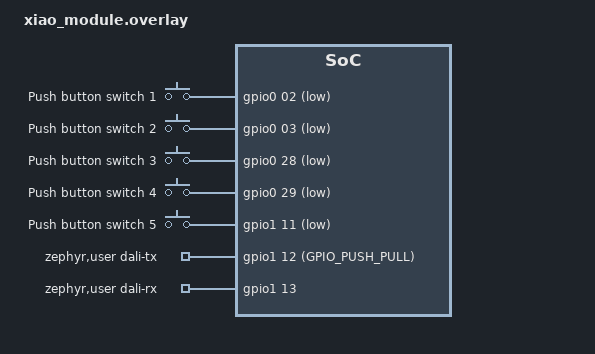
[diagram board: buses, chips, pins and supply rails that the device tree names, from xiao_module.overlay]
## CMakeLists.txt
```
# SPDX-License-Identifier: Apache-2.0

cmake_minimum_required(VERSION 3.20.0)
find_package(Zephyr REQUIRED HINTS $ENV{ZEPHYR_BASE})
project(blinky)

target_sources(app PRIVATE src/main.c src/dali.c src/buttons.c)
```

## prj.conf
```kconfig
CONFIG_NRFX_TIMER1=y
CONFIG_NRFX_TIMER2=y
CONFIG_NRFX_PPI=y
CONFIG_POLL=y
CONFIG_ASSERT=y
CONFIG_HEAP_MEM_POOL_SIZE=4096
CONFIG_RTT_CONSOLE=y
CONFIG_USE_SEGGER_RTT=y
```

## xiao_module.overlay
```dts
// To get started, press Ctrl+Space to bring up the completion menu and view the available nodes.

// You can also use the buttons in the sidebar to perform actions on nodes.
// Actions currently available include:

// * Enabling / disabling the node
// * Adding the bus to a bus
// * Removing the node
// * Connecting ADC channels

// For more help, browse the DeviceTree documentation at https://docs.zephyrproject.org/latest/guides/dts/index.html
// You can also visit the nRF DeviceTree extension documentation at https://nrfconnect.github.io/vscode-nrf-connect/devicetree/nrfdevicetree.html

/*
* 1- P0.02 D0 -- Button 1
* 2- P0.03 D1 -- Button 2
* 3- P0.28 D2 -- Button 3
* 4- P0.29 D3 -- Button 4
* 5- P0.04 D4 -- i2c_1 SDA We're not disabling this cos we might use it for an environmental sensor
* 6- P0.05 D5 -- i2c_1 SCL
* 7- P1.11 D6 -- Button 5

* VBUS
* GND
* 3V3
* D10 P1.15 -- 
* D9 P1.14 -- 
* D8 P1.13 -- DALI RX
* D7 P1.12 -- DALI TX


*/


/ {
    buttons {
		compatible = "gpio-keys";
		

		button1: button_1 {
			gpios = <&gpio0 02 (GPIO_PULL_UP | GPIO_ACTIVE_LOW)>;
			label = "Push button switch 1";
		};
		button2: button_2 {
			gpios = <&gpio0 03 (GPIO_PULL_UP | GPIO_ACTIVE_LOW)>;
			label = "Push button switch 2";
		};
		button3: button_3 {
			gpios = <&gpio0 28 (GPIO_PULL_UP | GPIO_ACTIVE_LOW)>;
			label = "Push button switch 3";
		};
		button4: button_4 {
			gpios = <&gpio0 29 (GPIO_PULL_UP | GPIO_ACTIVE_LOW)>;
			label = "Push button switch 4";
		};
		button5: button_5 {
			gpios = <&gpio1 11 (GPIO_PULL_UP | GPIO_ACTIVE_LOW)>;
			label = "Push button switch 5";
		};
    };

	zephyr,user {
		dali-tx-gpios = <&gpio1 12 (GPIO_PUSH_PULL)>;
		dali-rx-gpios = <&gpio1 13 (GPIO_PULL_UP)>;
	};

    aliases {
        sw1 = &button1;
        sw2 = &button2;
        sw3 = &button3;
        sw4 = &button4;
        sw5 = &button5;
    };
};

// Disable SPI2 so that we can repurpose the pins.
&spi2 {
	status = "disabled";
};

// Disable uart0 as we don't use it, and we need the pins.
&uart0 {
	status = "disabled";
};
```

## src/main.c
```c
/*
 * Copyright (c) 2016 Intel Corporation
 *
 * SPDX-License-Identifier: Apache-2.0
 */

#include <zephyr/kernel.h>
#include <zephyr/drivers/gpio.h>
#include <helpers/nrfx_gppi.h>
#include <zephyr/init.h>
#include <stdlib.h>
#include "./dali.h"
#include "./buttons.h"

#define SLEEP_TIME_MS   500
#define LED0_NODE DT_ALIAS(led0)



typedef enum {
	BUTTON_ACTION_TOGGLE,
	BUTTON_ACTION_DIM,
	BUTTON_ACTION_BRIGHTEN,
} button_action_t;

typedef enum {
	DEVICE_TYPE_NOT_PRESENT,
	DEVICE_TYPE_DIMMABLE_LAMP,
	DEVICE_TYPE_ONOFF,
} device_type_t;


typedef struct {
	device_type_t type;
	uint32_t address;
	uint8_t level;
} device_t;


typedef struct {
	uint32_t index;
	button_action_t action;
	device_t target;
} button_state_t;

static button_state_t buttons[5] = {
	{ .index = 0, .target = { .type = DEVICE_TYPE_DIMMABLE_LAMP, .address = DALI_GEAR_ADDR(0)},  .action = BUTTON_ACTION_TOGGLE },
	{ .index = 1, .target = { .type = DEVICE_TYPE_ONOFF, .address = DALI_GEAR_ADDR(1)},  .action = BUTTON_ACTION_TOGGLE },
	{ .index = 2, .target = { .type = DEVICE_TYPE_NOT_PRESENT }, .action = BUTTON_ACTION_TOGGLE },
	{ .index = 3, .target = { .type = DEVICE_TYPE_NOT_PRESENT }, .action = BUTTON_ACTION_TOGGLE },
	{ .index = 4, .target = { .type = DEVICE_TYPE_NOT_PRESENT }, .action = BUTTON_ACTION_TOGGLE },
};

/**
 * @brief Semaphore used to make asynchronous calls more synchronous.
 */
K_SEM_DEFINE(scan_sem, 0, 1);

static void update_level(dali_cmd_t *cmd) {
	button_state_t *button = (button_state_t *) cmd->ctx;
	if (cmd->result >= 0) {
		button->target.level = cmd->result;
		printk("Button %d level now %d from %d\r\n", button->index, button->target.level, cmd->result);
	} else {
		printk("Error when fetching level for button %d: %d\r\n", button->index, cmd->result);
	}
	k_free(cmd);
}


static void fetch_device_level(button_state_t *button) {
	dali_cmd_t *cmd = (dali_cmd_t *) k_malloc(sizeof(dali_cmd_t));
	if (cmd) {
		cmd->cmd = button->target.address | DALI_CMD_QUERY_ACTUAL_LEVEL; 
		cmd->ctx = button;
		cmd->callback = update_level;
		dali_transmit_cmd_async(cmd);
	} else {
		printk("Malloc failed");
	}
}


static void free_cmd(dali_cmd_t *cmd) {
	button_state_t *button = (button_state_t *) cmd->ctx;
	k_free(cmd);
	fetch_device_level(button);
}

static void send_cmd(button_state_t *button, uint32_t operation) {
	dali_cmd_t *cmd = (dali_cmd_t *) k_malloc(sizeof(dali_cmd_t));
	if (cmd) {
		cmd->cmd = button->target.address | operation; 
		cmd->ctx = button;
		cmd->callback = free_cmd;
		dali_transmit_cmd_async(cmd);
	} else {
		printk("Malloc failed");
	}
}



static void button_handler(int btn, button_evt_t evt, uint32_t repeat_count) {
	button_state_t *button = buttons + btn;
	switch (evt) {
		case BUTTON_EVT_PRESS:
			button->action = BUTTON_ACTION_TOGGLE;
			if (button->target.type != DEVICE_TYPE_NOT_PRESENT) {
				fetch_device_level(button);
				printk("Request status of %d\r\n", btn);
			}
			break;

		case BUTTON_EVT_RELEASE:
			if (button->action == BUTTON_ACTION_TOGGLE) {
				if (button->target.level == 0) {
					send_cmd(button, DALI_CMD_GOTO_LAST_ACTIVE_LEVEL);
				} else {
					send_cmd(button, DALI_CMD_OFF);
				}
				// k_msleep(20);
				// fetch_device_level(button);
				printk("toggle %d\r\n", btn);
			}
			break;

		case BUTTON_EVT_REPEAT:
			switch (button->action) {
				case BUTTON_ACTION_TOGGLE:
					// First dim/brighten action depends on current level. 
					button->action = button->target.level == 0 ? BUTTON_ACTION_BRIGHTEN : BUTTON_ACTION_DIM;
					break;
				case BUTTON_ACTION_DIM:
					printk("Dim %d\r\n", btn);
					break;
				case BUTTON_ACTION_BRIGHTEN:
					printk("Brighten %d\r\n", btn);
					break;
			}
			break;


		case BUTTON_EVT_REPRESS:
			button->action = button->action == BUTTON_ACTION_DIM ? BUTTON_ACTION_BRIGHTEN :  BUTTON_ACTION_DIM;
			if (button->action == BUTTON_ACTION_DIM) {
				printk("Dim %d\r\n", btn);
			} else {
				printk("Brighten %d\r\n", btn);
			}
			break;
	}
}
	

void scanDevices() {
	for (int addr = 0; addr < 64; addr++) {
		int32_t response = dali_transmit_cmd_sync(DALI_GEAR_ADDR(addr) | DALI_CMD_QUERY_ACTUAL_LEVEL, &scan_sem, K_FOREVER);
		// Wait for task to complete (callback will give to semaphore)
		k_sem_take(&scan_sem, K_FOREVER);
		// anything NAK (-1) and above are valid responses. All other negative responses are errors.
		if (response >= DALI_RESPONSE_NAK) {
			// printk("Gear %d level = %d\r\n", addr, response);
		} else {
			printk("Error fetching data: %d\r\n", response);
		}
	}
}


int main(void)
{
	buttons_init(button_handler);
	printk("Hello World\r\n");


	while (1) {
		// scanDevices();
		k_msleep(5000);
	}
	return 0;
}
```

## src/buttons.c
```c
#include <zephyr/kernel.h>
#include <zephyr/device.h>
#include <zephyr/drivers/gpio.h>
#include "./buttons.h"

/*
 * Get button configuration from the devicetree sw0 alias. This is mandatory.
 */
#define SW1_NODE	DT_ALIAS(sw1)
#define SW2_NODE	DT_ALIAS(sw2)
#define SW3_NODE	DT_ALIAS(sw3)
#define SW4_NODE	DT_ALIAS(sw4)
#define SW5_NODE	DT_ALIAS(sw5)

#define gpio0_NODE	DT_ALIAS(gpio0)
#define gpio1_NODE	DT_ALIAS(gpio1)


#if !DT_NODE_HAS_STATUS(SW1_NODE, okay)
#error "Unsupported board: sw1 devicetree alias is not defined"
#endif

#if !DT_NODE_HAS_STATUS(SW2_NODE, okay)
#error "Unsupported board: sw2 devicetree alias is not defined"
#endif

#if !DT_NODE_HAS_STATUS(SW3_NODE, okay)
#error "Unsupported board: sw3 devicetree alias is not defined"
#endif



#if !DT_NODE_HAS_STATUS(SW4_NODE, okay)
#error "Unsupported board: sw4 devicetree alias is not defined"
#endif

#if !DT_NODE_HAS_STATUS(SW5_NODE, okay)
#error "Unsupported board: sw5 devicetree alias is not defined"
#endif


#define NUM_BUTTONS 5
#define DEBOUNCE_INTERVAL 25
#define INITIAL_REPEAT_INTERVAL 750
#define REPEAT_INTERVAL 250


button_event_handler_t event_handler = NULL;


typedef struct {
	unsigned int index;
	uint32_t level;
	uint64_t last_release_ts;
    uint32_t repeat_count;
	struct gpio_dt_spec button;
	struct gpio_callback callback;
	struct k_work_delayable debounce_task;
	struct k_work_delayable repeat_task;
} t_button_state;

static t_button_state buttons[NUM_BUTTONS] = {
	{
		.index = 0,
		.button = GPIO_DT_SPEC_GET_OR(SW1_NODE, gpios, {0}),
		.last_release_ts = 0,
	},
	{
		.index = 1,
		.button = GPIO_DT_SPEC_GET_OR(SW2_NODE, gpios, {0}),
		.last_release_ts = 0,
	},
	{
		.index = 2,
		.button = GPIO_DT_SPEC_GET_OR(SW3_NODE, gpios, {0}),
		.last_release_ts = 0,
	},
	{
		.index = 3,
		.button = GPIO_DT_SPEC_GET_OR(SW4_NODE, gpios, {0}),
		.last_release_ts = 0,
	},
	{
		.index = 4,
		.button = GPIO_DT_SPEC_GET_OR(SW5_NODE, gpios, {0}),
		.last_release_ts = 0,
	},
};



void button_change(const struct device *dev, struct gpio_callback *cb, uint32_t pins)
{
	t_button_state *btn = buttons;
	for (int i = 0; i < NUM_BUTTONS; i++, btn++) {
		if (btn->button.port == dev && pins & BIT(btn->button.pin)) {
			k_work_reschedule(&(btn->debounce_task), K_MSEC(DEBOUNCE_INTERVAL));	
		}
	}
}



static void debounce(struct k_work *task) {
	t_button_state *button = CONTAINER_OF(task, t_button_state, debounce_task);

	int val = gpio_pin_get_dt(&(button->button));
	if (val != button->level) {
		button->level = val;
		if (val) {
			k_work_reschedule(&(button->repeat_task), K_MSEC(INITIAL_REPEAT_INTERVAL));	
			uint64_t now = k_uptime_get();
			if ((now - button->last_release_ts < 500) && button->repeat_count > 0) {
                if (event_handler) {
                    event_handler(button->index, BUTTON_EVT_REPRESS, button->repeat_count);
                }
			} else {
                button->repeat_count = 0;
                if (event_handler) {
                    event_handler(button->index, BUTTON_EVT_PRESS, button->repeat_count);
                }
			}
		} else {
			button->last_release_ts = k_uptime_get();
            // button->repeat_count = 0;
			k_work_cancel_delayable(&(button->repeat_task));	
            if (event_handler) {
                event_handler(button->index, BUTTON_EVT_RELEASE, button->repeat_count);
            }
		}

	}

}

static void repeat(struct k_work *task) {
	t_button_state *button = CONTAINER_OF(task, t_button_state, repeat_task);
	if (button->level) {
		k_work_reschedule(&(button->repeat_task), K_MSEC(REPEAT_INTERVAL));	
        button->repeat_count++;
        if (event_handler) {
            event_handler(button->index, BUTTON_EVT_REPEAT, button->repeat_count);
        }
	}
}

static int setup_button_gpio(struct gpio_dt_spec *button) {
	if (!gpio_is_ready_dt(button)) {
		printk("Error: button device %s is not ready\r\n", button->port->name);
		return 1;
	}

	int ret = gpio_pin_configure_dt(button, GPIO_INPUT);
	if (ret != 0) {
		printk("Error %d: failed to configure %s pin %d\r\n", ret, button->port->name, button->pin);
		return 1;
	}

	ret = gpio_pin_interrupt_configure_dt(button, GPIO_INT_EDGE_BOTH);
	if (ret != 0) {
		printk("Error %d: failed to configure interrupt on %s pin %d\r\n",
			ret, button->port->name, button->pin);
		return 1;
	}
	printk("Set up button at %s pin %d\r\n", button->port->name, button->pin);
	return 0;
}


void buttons_init(button_event_handler_t handler) {
	t_button_state *button;
	int i; 

    event_handler = handler;

	for (i = 0, button = buttons; i < NUM_BUTTONS; i++, button++) {
		k_work_init_delayable(&button->debounce_task, debounce);
		k_work_init_delayable(&button->repeat_task, repeat);

		if (setup_button_gpio(&button->button)) {
			printk("Button setup fail!\r\n");
		}
		button->level = gpio_pin_get_dt(&button->button);
		button->last_release_ts = k_uptime_get_32();
        // Set up GPIO to call button_change as its callback. 
		gpio_init_callback(&(button->callback), button_change, BIT(button->button.pin));
		gpio_add_callback(button->button.port, &(button->callback));
	}
}
```

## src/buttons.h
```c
#ifndef BUTTONS_H_
#define BUTTONS_H_

typedef enum {
    BUTTON_EVT_PRESS,
    BUTTON_EVT_RELEASE,
    BUTTON_EVT_REPEAT,
    BUTTON_EVT_REPRESS,
} button_evt_t;

typedef void (*button_event_handler_t)(int btn, button_evt_t evt, uint32_t repeat_count);

void buttons_init(button_event_handler_t handler);

#endif
```

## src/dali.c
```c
#include "./dali.h"
#include <zephyr/kernel.h>
#include <zephyr/device.h>
#include <nrfx_gpiote.h>
#include <nrfx_timer.h>
#include <nrfx_log.h>
#include <helpers/nrfx_gppi.h>
#include <nrfx_ppi.h>


#define DALI_STACK_SIZE 1024
#define DALI_PRIORITY 0

#define NRF_ERRCHK(call) { nrfx_err_t err = (call); if (err != NRFX_SUCCESS) { printk("(%s:%d) nrfx call failed: %x\r\n", __FILE__, __LINE__, err); return 1;}} 

// TX pin is p1.12
#define TRANSMIT_PIN ((1 << 5) | 12)
// RX pin is p1.13
#define RECEIVE_PIN ((1 << 5) | 13)





#define DALI_TE_US (833/2)



// We allow 15% of one TE as the Grace period for timing.
#define DALI_TIMING_GRACE 62
#define SHORT_PULSE_MIN_US (DALI_TE_US - DALI_TIMING_GRACE)
#define SHORT_PULSE_MAX_US (DALI_TE_US + DALI_TIMING_GRACE)
#define LONG_PULSE_MIN_US (2*DALI_TE_US - DALI_TIMING_GRACE)
#define LONG_PULSE_MAX_US (2*DALI_TE_US + DALI_TIMING_GRACE)
#define DALI_BACK_FRAME_WAIT_US (22*DALI_TE_US)
#define DALI_DEAD_TIME_US (6*DALI_TE_US)

static const nrfx_timer_t io_timer = NRFX_TIMER_INSTANCE(1);
static nrf_ppi_channel_t mid_bit_toggle_ppi_channel;
static nrf_ppi_channel_t start_bit_one_ppi_channel;
static nrf_ppi_channel_t start_bit_zero_ppi_channel;
static nrf_ppi_channel_t input_toggle_ppi_channel;
static uint8_t transmit_gpiote_channel;
static uint8_t receive_gpiote_channel;

static volatile uint32_t shift_reg = 0;
static volatile size_t num_bits = 0;

K_SEM_DEFINE(line_idle, 0, 1);


typedef void (*state_callback_t)();

typedef struct {
	char *name;
	state_callback_t entry;
	state_callback_t exit;
	state_callback_t timer;
	state_callback_t short_pulse;
	state_callback_t long_pulse;
	state_callback_t invalid_pulse;
} dali_state_t;

K_FIFO_DEFINE(command_queue);

static void dali_task(void *, void *, void *);

K_THREAD_DEFINE(dali_tid, DALI_STACK_SIZE,
                dali_task, NULL, NULL, NULL,
                DALI_PRIORITY, 0, 1200);



static void bus_error_occurred();


static void tx_state_entry();
static void tx_exit();
static void tx_state_bit_transmitted();

static void post_tx_dead_state_entry();
static void post_tx_dead_state_timeout();

static void wait_for_rx_start_entry();
static void wait_for_rx_timeout();
static void wait_for_rx_transition_occurred();

static void rx_start_bit_received_entry();
static void rx_start_bit_received_short_pulse();

static void rx_mid_bit_short_pulse_received();
static void rx_mid_bit_long_pulse_received();
static void check_for_transmission_end();

static void rx_bit_end_state_short_pulse_received();

static void bus_error_state_entry();
static void bus_error_state_pulse_handler();
static void bus_error_state_timeout();

static void idle_state_entry();

static const dali_state_t transmitting_state = {
	.name = "tx",
	.entry = tx_state_entry,
	.exit = tx_exit,
	.timer = tx_state_bit_transmitted,
	.short_pulse = NULL,
	.long_pulse = NULL,
	.invalid_pulse = NULL,
};


static const dali_state_t post_tx_dead_state = {
	.name = "dead",
	.entry = post_tx_dead_state_entry,
	.exit = NULL,
	.timer = post_tx_dead_state_timeout,
	.short_pulse = NULL,
	.long_pulse = NULL,
	.invalid_pulse = NULL,
};


static const dali_state_t rx_wait_for_start_state = {
	.name = "wfs",
	.entry = wait_for_rx_start_entry,
	.exit = NULL,
	.timer = wait_for_rx_timeout,
	// Pulse duration doesn't make sense for the wait_for_start state, so we react the same for all durations.
	.short_pulse = wait_for_rx_transition_occurred,
	.long_pulse = wait_for_rx_transition_occurred,
	.invalid_pulse = wait_for_rx_transition_occurred,
};

static const dali_state_t rx_start_bit_received_state = {
	.name = "Start Bit Received",
	.entry = rx_start_bit_received_entry,
	.exit = NULL,
	.timer = bus_error_occurred,
	.short_pulse = rx_start_bit_received_short_pulse,
	.long_pulse = bus_error_occurred,
	.invalid_pulse = bus_error_occurred,
};

static const dali_state_t rx_mid_bit_state = {
	.name = "M",
	.entry = NULL,
	.exit = NULL,
	.timer = check_for_transmission_end,
	.short_pulse = rx_mid_bit_short_pulse_received,
	.long_pulse = rx_mid_bit_long_pulse_received,
	.invalid_pulse = bus_error_occurred,
};

static const dali_state_t rx_bit_end_state = {
	.name = "E",
	.entry = NULL,
	.exit = NULL,
	.timer = check_for_transmission_end,
	.short_pulse = rx_bit_end_state_short_pulse_received,
	.long_pulse = bus_error_occurred,
	.invalid_pulse = bus_error_occurred,
};

static const dali_state_t bus_error_state = {
	.name = "Bus Error",
	.entry = bus_error_state_entry,
	.exit = NULL,
	.timer = bus_error_state_timeout,
	.short_pulse = bus_error_state_pulse_handler,
	.long_pulse = bus_error_state_pulse_handler,
	.invalid_pulse = bus_error_state_pulse_handler,
};

static const dali_state_t idle_state = {
	.name = "I",
	.entry = idle_state_entry,
	.exit = NULL,
	.timer = NULL,
	.short_pulse = NULL,
	.long_pulse = NULL,
	.invalid_pulse = NULL,
};

dali_state_t *current_state = (dali_state_t *) &idle_state;



/**
 * @brief Sets up the appropriate PPI channels to send the next bit correctly.
 */
static inline void configure_tx_next_bit() {
	if (shift_reg & BIT(31)) {
		nrfx_ppi_channel_enable(start_bit_one_ppi_channel);
		nrfx_ppi_channel_disable(start_bit_zero_ppi_channel);
	} else {
		nrfx_ppi_channel_disable(start_bit_one_ppi_channel);
		nrfx_ppi_channel_enable(start_bit_zero_ppi_channel);
	}
	shift_reg <<= 1;
}



// =================== Common state handlers ===========================
static void set_state(const dali_state_t *new_state) {
	if (current_state->exit) {
		current_state->exit();
	}
	// printk("%s->%s\r\n", current_state->name, new_state->name);
	current_state = (dali_state_t *) new_state;
	if (current_state->entry) {
		current_state->entry();
	}
}

/**
 * @brief Shared by many states, this indicates that some timing error occurred.  
 * We go into a stat that waits for the bus to be idle for a period of time, then
 * returns to active duty.
 */
static void bus_error_occurred() {
	printk("Bus error in state %s\r\n", current_state->name);
	set_state(&bus_error_state);
}

static void check_for_transmission_end() {
	// This can be called from either the half bit or the end of a bit.

	// if pin is high, there is a problem, as we must always return to idle.
	if (nrfx_gpiote_in_is_set(RECEIVE_PIN)) {
		set_state(&bus_error_state);
	} else {
		// Strip off the extra high 1 bit that represented the start bit.
		shift_reg &= (1 << num_bits)-1;
		// We're done with receiving.
		set_state(&idle_state);
	}
}




// =================== Transmit State. ===========================
static void tx_state_entry() {
	// The timer should already be off, but lets make sure.
	nrfx_timer_disable(&io_timer);
	// Enable GPIOTE capture on input toggle. 
	nrfx_gpiote_in_event_disable(RECEIVE_PIN);

	// Set timer to have fixed 2TE period.
	nrf_timer_cc_set(io_timer.p_reg, NRF_TIMER_CC_CHANNEL0, nrfx_timer_us_to_ticks(&io_timer, DALI_TE_US*2));
	// Make it so that it will toggle at one TE
	nrfx_ppi_channel_enable(mid_bit_toggle_ppi_channel);
	// Set up the next bit
	configure_tx_next_bit();
	// We start with driving the start bit (a logical 1)
	nrfx_timer_clear(&io_timer);
	nrfx_gpiote_set_task_trigger(TRANSMIT_PIN);	
	nrfx_timer_enable(&io_timer);

}


static void tx_state_bit_transmitted() {
	if (--num_bits > 0) {
		configure_tx_next_bit();
	} else {
		// We're done transmitting. Because we stay one bit ahead, an extra 0 will have
		// been set up, which will drive the line back low, which is what we want.

		// If we were to start reading straight away, we might read the final bit toggle reflected back
		// after propagation delay through the read line.  Instead, we introduce a dead time period where
		// we ignore the bus for a few TE.
		set_state(&post_tx_dead_state);
	}
}

static void tx_exit() {
	// Disable the PPI channels that make TX work. 
	nrfx_ppi_channel_disable(mid_bit_toggle_ppi_channel);
	nrfx_ppi_channel_disable(start_bit_one_ppi_channel);
	nrfx_ppi_channel_disable(start_bit_zero_ppi_channel);

	// Timer is left running as this state exits.
	// nrfx_timer_disable(&io_timer);
}


// =================== Post TX dead state ===========================

static void post_tx_dead_state_entry() {
	// Wait for 6 TEs (one less than the required 7) before we start receiving.
	nrf_timer_cc_set(io_timer.p_reg, NRF_TIMER_CC_CHANNEL0, nrfx_timer_us_to_ticks(&io_timer, DALI_DEAD_TIME_US));
	// nrfx_timer_clear(&io_timer);
	// Re-enable the timer. 
	// nrfx_timer_enable(&io_timer);
}

static void post_tx_dead_state_timeout() {
	set_state(&rx_wait_for_start_state);
}


// =================== RX Wait for Start State ===========================

static void wait_for_rx_start_entry() {
	shift_reg = 0;
	num_bits = 0;

	// Transmission must start between 7 and 22 TEs after TX finished.  We've already waited 6, so we set timeout to 16
	nrf_timer_cc_set(io_timer.p_reg, NRF_TIMER_CC_CHANNEL0, nrfx_timer_us_to_ticks(&io_timer, DALI_BACK_FRAME_WAIT_US-DALI_DEAD_TIME_US));
	// TODO Ensure bus is still low.
	// Listen for Bit Transitions
	nrfx_gpiote_in_event_enable(RECEIVE_PIN, true);
}

static void wait_for_rx_timeout() {
	// No start bit detected during detection period.
	set_state(&idle_state);
}

static void wait_for_rx_transition_occurred() {
	// A start bit has happened
	set_state(&rx_start_bit_received_state);
}


// =================== RX Start bit received state ===========================

/**
 * @brief We've started reading, meaning a transition has occurred.
 */
static void rx_start_bit_received_entry() {
	// Reset timeout to be the maximum long pulse width
	nrf_timer_cc_set(io_timer.p_reg, NRF_TIMER_CC_CHANNEL0, nrfx_timer_us_to_ticks(&io_timer, LONG_PULSE_MAX_US));
}

/**
 * @brief We've received the first half of the start bit. Set ourselves up for normal reads from here on in. 
 */
static void rx_start_bit_received_short_pulse() {
	shift_reg = 1; // We store the last bit in the LSB of the shift reg.  We start with 1 to represent the start it. This will be masked out later.
	set_state(&rx_mid_bit_state);
}


// =================== RX Mid bit state ===========================

static void rx_mid_bit_short_pulse_received() {
	set_state(&rx_bit_end_state);
}

static void rx_mid_bit_long_pulse_received() {
	// Its a bit flip.
	shift_reg = shift_reg << 1 | (shift_reg & 0x01 ? 0 : 1);
	num_bits++;
	// Stay in mid-bit state.
}



// =================== RX bit end state ===========================

static void rx_bit_end_state_short_pulse_received() {
	// The only way we get here is if the previous state was a half bit,
	// and it received a short pulse.  A second short pulse indicates another
	// bit of the same polarity.
	shift_reg = shift_reg << 1 | (shift_reg & 0x01);
	num_bits++;
	set_state(&rx_mid_bit_state);

}

// =================== Bus Error State ===========================

static void bus_error_state_entry() {
	// We want the bus to be low for a period of time before we exit this state.
	// TODO make this do something other than just wait for a bit.
	nrf_timer_cc_set(io_timer.p_reg, NRF_TIMER_CC_CHANNEL0, nrfx_timer_ms_to_ticks(&io_timer, 5));

}

static void bus_error_state_pulse_handler() {
}

static void bus_error_state_timeout() {
	set_state(&idle_state);
}

// =================== Idle State  ===========================

static void idle_state_entry() {
	nrfx_timer_disable(&io_timer);
	// nrfx_ppi_channel_disable(input_toggle_ppi_channel);
	nrfx_gpiote_in_event_disable(RECEIVE_PIN);
	k_sem_give(&line_idle);
}


// =================== End of state handlers.  ===========================



/**
 * @brief Called for compare interrupts coming from the I/O Timer. 
 * This will handle two types of events
 *  - CC0 - This is used by both transmit and receive
 *  - CC2 - This is used by Receive each time there is a polarity toggle. It records the pulse width in us 
 *          and uses this to determine what has been read. 
 * 
 * @param event_type 
 * @param p_context 
 */
void timer1_event_handler(nrf_timer_event_t event_type, void * p_context)
{
	switch(event_type) {
		case NRF_TIMER_EVENT_COMPARE0:
			if (current_state && current_state->timer) {
				current_state->timer();
			}
			break;
		default:
			break;
	}
}


/**
 * @brief Called each time the input toggles (when in the various RX modes)
 * 
 * @param pin 
 * @param action 
 */
void gpiote_receive_event_handler(nrfx_gpiote_pin_t pin, nrf_gpiote_polarity_t action) {
	if (current_state) {
		uint32_t ticks = nrfx_timer_capture_get(&io_timer, NRF_TIMER_CC_CHANNEL2);
		// printk("P%d\r\n", ticks);

		if (ticks >= SHORT_PULSE_MIN_US && ticks <= SHORT_PULSE_MAX_US) {
			// Short Pulse
			if (current_state->short_pulse) {
				current_state->short_pulse();
			}
		} else if (ticks >= LONG_PULSE_MIN_US) {
			// Long pulse - Anything greater than LONG_PULSE_MAX_US will cause a timeout.
			if (current_state->long_pulse) {
				current_state->long_pulse();
			}
		} else {
			if (current_state->invalid_pulse) {
				current_state->invalid_pulse();
			}
		}
	}
}



void dali_transmit_cmd_async(dali_cmd_t *cmd) {
	cmd->result = DALI_RESPONSE_QUEUED;
	k_fifo_put(&command_queue, cmd);
}


struct sync_callback_ctx {
	int response;
	struct k_sem *sem;
};


static void syncCallback(dali_cmd_t *cmd) {
	k_sem_give((struct k_sem *) cmd->ctx);
}

/**
 * @brief Uses the asynchronous call, but incorporates a semaphore to make it more synchronous.
 * 
 * @param data 
 * @param sem 
 * @param timeout 
 * @return int32_t 
 */
int32_t dali_transmit_cmd_sync(uint16_t data, struct k_sem *sem, k_timeout_t timeout) {
	dali_cmd_t cmd = {
		.cmd = data,
		.ctx = sem,
		.callback = syncCallback,
	};
	dali_transmit_cmd_async(&cmd);
	// Wait for task to complete (callback will give to semaphore)
	int res = k_sem_take(sem, timeout);
	if (res) {
		return -res;
	}
	return cmd.result;
}


static int dali_init() {
	nrfx_gpiote_out_config_t toggleConfig = {
		.action = NRF_GPIOTE_POLARITY_TOGGLE,
		.init_state = NRF_GPIOTE_INITIAL_VALUE_LOW,
		.task_pin = true,
	};

  	if (!nrfx_gpiote_is_init()) {
		NRF_ERRCHK(nrfx_gpiote_init(1));
	}

	// Create a GPIO Task that will manipulate the output of the transmit pin.
	NRF_ERRCHK(nrfx_gpiote_channel_alloc(&transmit_gpiote_channel));
	NRF_ERRCHK(nrfx_gpiote_out_prealloc_init(TRANSMIT_PIN, &toggleConfig, transmit_gpiote_channel));
	nrfx_gpiote_out_task_enable(TRANSMIT_PIN);


	// Set up Timer
	nrfx_timer_config_t timer_config = NRFX_TIMER_DEFAULT_CONFIG;
	timer_config.bit_width = NRF_TIMER_BIT_WIDTH_32;
	timer_config.frequency = NRF_TIMER_FREQ_1MHz;
	NRF_ERRCHK(nrfx_timer_init(&io_timer, &timer_config, timer1_event_handler));

	IRQ_DIRECT_CONNECT(TIMER1_IRQn, 0, nrfx_timer_1_irq_handler, 0);
	irq_enable(TIMER1_IRQn);
	nrfx_timer_extended_compare(&io_timer, 
                                NRF_TIMER_CC_CHANNEL0, 
                                nrfx_timer_us_to_ticks(&io_timer, DALI_TE_US*2), 
                                NRF_TIMER_SHORT_COMPARE0_CLEAR_MASK, true);


	// For transmit, set up a compare channel to trigger the toggle via PPI
	nrfx_timer_compare(&io_timer, 
						NRF_TIMER_CC_CHANNEL1, 
						nrfx_timer_us_to_ticks(&io_timer, DALI_TE_US), 
						false);

	// Set up PPI to wire together timer Compare1 (Mid Bit) to the OUT (toggle) task for the output pin
    NRF_ERRCHK(nrfx_ppi_channel_alloc(&mid_bit_toggle_ppi_channel));
    NRF_ERRCHK(nrfx_ppi_channel_assign(mid_bit_toggle_ppi_channel, 
			nrfx_timer_event_address_get(&io_timer, NRF_TIMER_EVENT_COMPARE1), 
			nrfx_gpiote_out_task_addr_get(TRANSMIT_PIN)
	));

	// Also set up channels for set (1) or clear (0) on CC0.  
	// These will be enabled or disabled based on the next bit to be transmitted.
    NRF_ERRCHK(nrfx_ppi_channel_alloc(&start_bit_one_ppi_channel));
    NRF_ERRCHK(nrfx_ppi_channel_assign(start_bit_one_ppi_channel, 
			nrfx_timer_event_address_get(&io_timer, NRF_TIMER_EVENT_COMPARE0), 
			nrfx_gpiote_set_task_addr_get(TRANSMIT_PIN)
	));
    NRF_ERRCHK(nrfx_ppi_channel_alloc(&start_bit_zero_ppi_channel));
    NRF_ERRCHK(nrfx_ppi_channel_assign(start_bit_zero_ppi_channel, 
			nrfx_timer_event_address_get(&io_timer, NRF_TIMER_EVENT_COMPARE0), 
			nrfx_gpiote_clr_task_addr_get(TRANSMIT_PIN)
	));

	// For Receive
	// Create a timer capture event upon any change of the input
	nrfx_gpiote_in_config_t readToggleConfig = {
		.sense = NRF_GPIOTE_POLARITY_TOGGLE,
		.pull =  NRF_GPIO_PIN_PULLUP, // CLICK board already has pullup, and will be driven low.
		.is_watcher = false,
		.hi_accuracy = true,
		.skip_gpio_setup = false,
	};
	NRF_ERRCHK(nrfx_gpiote_channel_alloc(&receive_gpiote_channel));
	NRF_ERRCHK(nrfx_gpiote_in_prealloc_init(RECEIVE_PIN, &readToggleConfig, receive_gpiote_channel, gpiote_receive_event_handler));



	// Create a PPI channel that binds the toggle event to a capture event.
	NRF_ERRCHK(nrfx_ppi_channel_alloc(&input_toggle_ppi_channel));
    NRF_ERRCHK(nrfx_ppi_channel_assign(input_toggle_ppi_channel, 
		nrfx_gpiote_in_event_addr_get(RECEIVE_PIN),
		nrfx_timer_capture_task_address_get(&io_timer, 2) // Capture into CC2
	));
	// Also clear the counter upon receiving the toggle event.
	NRF_ERRCHK(nrfx_ppi_channel_fork_assign(input_toggle_ppi_channel, 
		nrf_timer_task_address_get(io_timer.p_reg, NRF_TIMER_TASK_CLEAR)
	));
	nrfx_ppi_channel_enable(input_toggle_ppi_channel);

	// Do not enable the capture PPI channel yet, as we are not receiving.
	return 0;
}




static void dali_task(void *_a1, void *_a2, void *_a3) {
    dali_cmd_t *cmd;

    if (dali_init()) {
        printk("Error initialising DALI\r\n");
        return;
    }

    while (true) {
        if ((cmd = (dali_cmd_t *) k_fifo_get(&command_queue, K_FOREVER))) {
			if (current_state != &idle_state) {
				printk("Bus is not idle\r\n");
				cmd->result = DALI_RESPONSE_BUS_BUSY;
			} else {
				cmd->result = DALI_RESPONSE_PROCESSING;
				shift_reg = cmd->cmd << 16;
				num_bits = 17; // extra one for the start bit.
				set_state(&transmitting_state);

				// Wait for the timers to finish transmitting and receiving.
				if (k_sem_take(&line_idle, K_MSEC(50))) {
					cmd->result = DALI_RESPONSE_TIMEOUT;
				} else {
					if (num_bits == 0) {
						// TODO techically a bus error could have also caused 0 bits to be read.
						cmd->result = DALI_RESPONSE_NAK;
					} else  if (num_bits == 8) {
						// Copy the received result into the output.
						cmd->result = (int32_t) shift_reg;
					} else {
						printk("Error reading respone\r\n");
						cmd->result = DALI_RESPONSE_COLLISION;
					}
				}
			}
			// Mark message as deleted, and send info back to the caller.
			if (cmd->callback) {
				cmd->callback(cmd);
			}
		} else {
			printk("Error getting msg\r\n");
		}
    }
}
```

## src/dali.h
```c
#ifndef DALI_H_
#define DALI_H_

#include <stdint.h>
#include <zephyr/kernel.h>

#define DALI_CMD_QUERY_ACTUAL_LEVEL 0x1A0
#define DALI_CMD_GOTO_LAST_ACTIVE_LEVEL 0x10a
#define DALI_CMD_OFF 0x100


#define DALI_GEAR_ADDR(x) ((x) << 9)
#define DALI_GROUP_ADDR(x) (1 << 15 | (x) << 9)


#define DALI_RESPONSE_NAK -1
#define DALI_RESPONSE_COLLISION -2
#define DALI_RESPONSE_TIMEOUT -3
#define DALI_RESPONSE_BUS_BUSY -4
#define DALI_RESPONSE_QUEUED -4
#define DALI_RESPONSE_PROCESSING -5

struct dali_cmd_t;

typedef void (*dali_cmd_callback_t)(struct dali_cmd_t *cmd);

typedef struct dali_cmd_t {
    void *fifo_reserved;   /* 1st word reserved for use by FIFO */
	uint32_t cmd;
    int32_t result;
	dali_cmd_callback_t callback;
	void *ctx;
} dali_cmd_t;



void dali_transmit_cmd_async(dali_cmd_t *cmd);
int32_t dali_transmit_cmd_sync(uint16_t data, struct k_sem *sem, k_timeout_t timeout);


#endif
```
